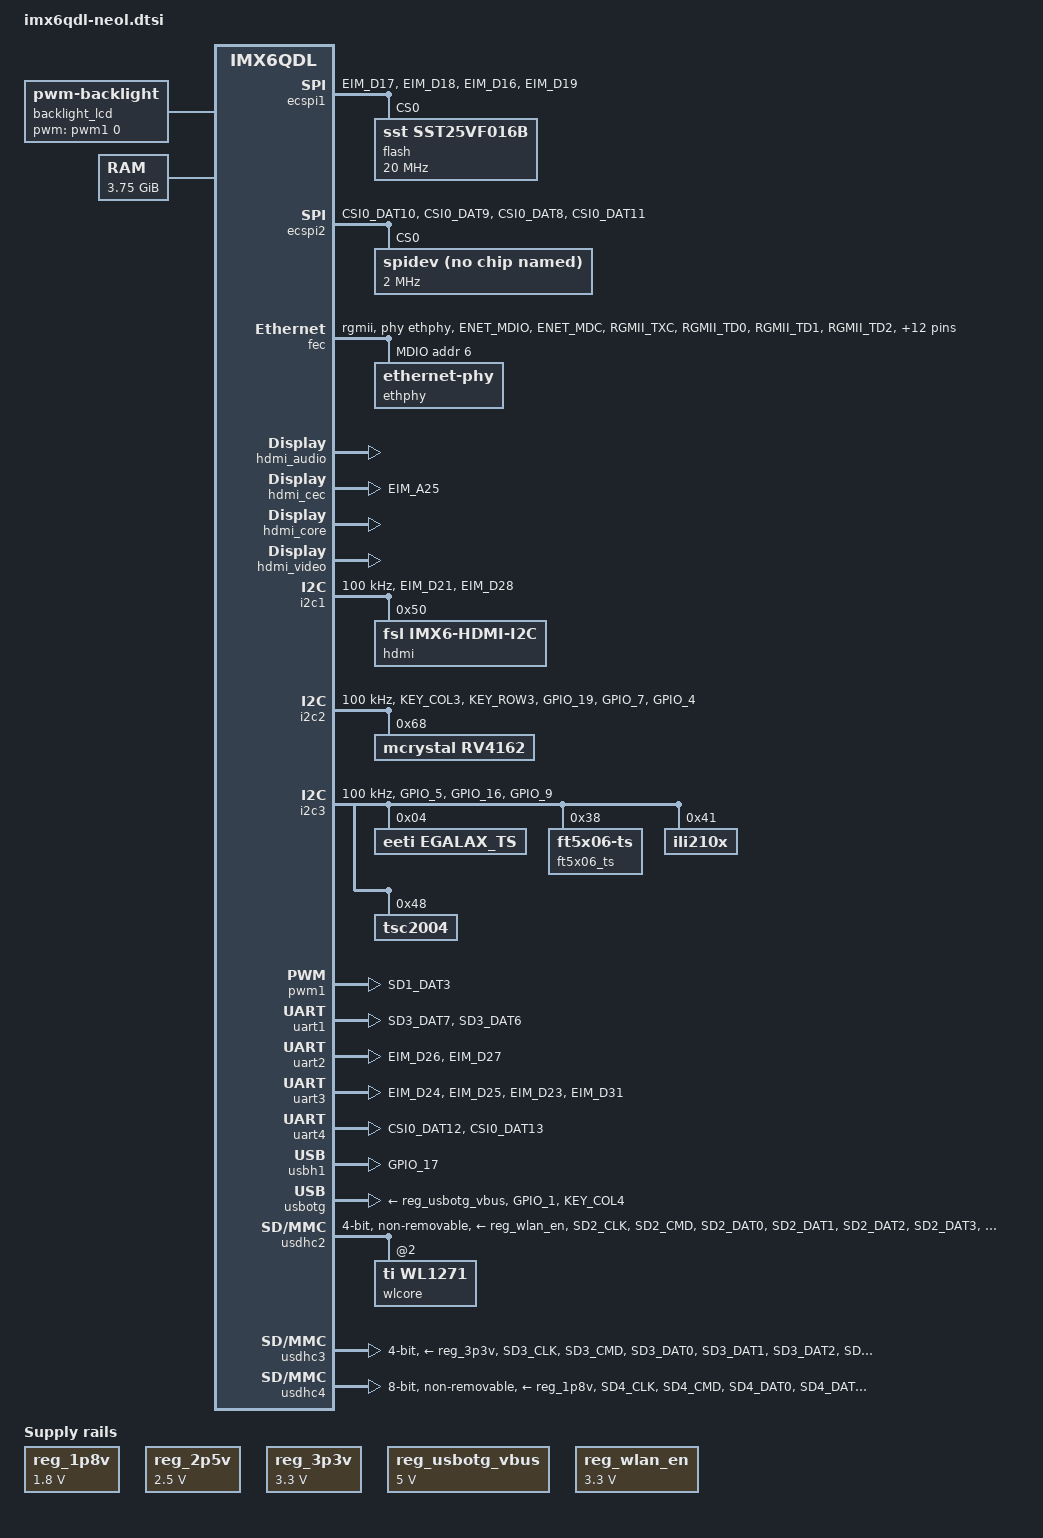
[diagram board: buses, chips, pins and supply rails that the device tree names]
/*
 * Copyright 2017 Boundary Devices, Inc.
 * Copyright 2012 Freescale Semiconductor, Inc.
 * Copyright 2011 Linaro Ltd.
 *
 * The code contained herein is licensed under the GNU General Public
 * License. You may obtain a copy of the GNU General Public License
 * Version 2 or later at the following locations:
 *
 * http://www.opensource.org/licenses/gpl-license.html
 * http://www.gnu.org/copyleft/gpl.html
 */
#include <dt-bindings/gpio/gpio.h>
#include <dt-bindings/input/input.h>

&iomuxc {
	pinctrl-names = "default";
	pinctrl-0 = <&pinctrl_hog>;

	iomuxc_imx6q_neol: iomuxc-imx6q-neolgrp {
		status = "okay";
	};
};

&iomuxc_imx6q_neol {
	pinctrl_bt_rfkill: bt-rfkillgrp {
		fsl,pins = <
#define GP_BT_RFKILL_RESET	<&gpio6 16 GPIO_ACTIVE_LOW>
			MX6QDL_PAD_NANDF_CS3__GPIO6_IO16	0x030b0
		>;
	};

	pinctrl_ecspi1: ecspi1grp {
		fsl,pins = <
			MX6QDL_PAD_EIM_D17__ECSPI1_MISO		0x100b1
			MX6QDL_PAD_EIM_D18__ECSPI1_MOSI		0x100b1
			MX6QDL_PAD_EIM_D16__ECSPI1_SCLK		0x000b1
#define GP_ECSPI1_NOR_CS	<&gpio3 19 GPIO_ACTIVE_LOW>
			MX6QDL_PAD_EIM_D19__GPIO3_IO19		0x0b0b1
		>;
	};

	pinctrl_ecspi2: ecspi2grp {
		fsl,pins = <
			MX6QDL_PAD_CSI0_DAT10__ECSPI2_MISO	0x100b1
			MX6QDL_PAD_CSI0_DAT9__ECSPI2_MOSI	0x100b1
			MX6QDL_PAD_CSI0_DAT8__ECSPI2_SCLK	0x100b1
#define GP_ECSPI2_SS0		<&gpio5 29 GPIO_ACTIVE_LOW>
			MX6QDL_PAD_CSI0_DAT11__GPIO5_IO29	0x0b0b1
		>;
	};

	pinctrl_enet: enetgrp {
		fsl,pins = <
			MX6QDL_PAD_ENET_MDIO__ENET_MDIO		0x1b0b0
			MX6QDL_PAD_ENET_MDC__ENET_MDC		0x1b0b0
			MX6QDL_PAD_RGMII_TXC__RGMII_TXC		0x100b0
			MX6QDL_PAD_RGMII_TD0__RGMII_TD0		0x100b0
			MX6QDL_PAD_RGMII_TD1__RGMII_TD1		0x100b0
			MX6QDL_PAD_RGMII_TD2__RGMII_TD2		0x100b0
			MX6QDL_PAD_RGMII_TD3__RGMII_TD3		0x100b0
			MX6QDL_PAD_RGMII_TX_CTL__RGMII_TX_CTL	0x100b0
			MX6QDL_PAD_ENET_REF_CLK__ENET_TX_CLK	0x100b0
			MX6QDL_PAD_RGMII_RXC__RGMII_RXC		0x1b0b0
			MX6QDL_PAD_RGMII_RD0__RGMII_RD0		0x1b0b0
			MX6QDL_PAD_RGMII_RD1__RGMII_RD1		0x1b0b0
			MX6QDL_PAD_RGMII_RD2__RGMII_RD2		0x1b0b0
			MX6QDL_PAD_RGMII_RD3__RGMII_RD3		0x1b0b0
			MX6QDL_PAD_RGMII_RX_CTL__RGMII_RX_CTL	0x1b0b0
#define GP_ENET_PHY_RESET	<&gpio1 27 GPIO_ACTIVE_LOW>
			MX6QDL_PAD_ENET_RXD0__GPIO1_IO27	0x030b0
#define GPIRQ_ENET_PHY		<&gpio1 28 IRQ_TYPE_LEVEL_LOW>
			MX6QDL_PAD_ENET_TX_EN__GPIO1_IO28	0x1b0b0
#define GPIRQ_ENET		<&gpio1 6 IRQ_TYPE_LEVEL_HIGH>
			MX6QDL_PAD_GPIO_6__ENET_IRQ		0x000b1
		>;
	};

	pinctrl_hdmi_cec: hdmi-cecgrp {
		fsl,pins = <
			MX6QDL_PAD_EIM_A25__HDMI_TX_CEC_LINE	0x1f8b0
		>;
	};

	pinctrl_hog: hoggrp {
		fsl,pins = <
#define GP_5V_DLP_EN	<&gpio3 7 GPIO_ACTIVE_HIGH>
			MX6QDL_PAD_EIM_DA7__GPIO3_IO07		0x130b0
#define GP_STDBY_MODE	<&gpio2 24 GPIO_ACTIVE_HIGH>
			MX6QDL_PAD_EIM_CS1__GPIO2_IO24		0x1b0b0
#define GP_DLPC_BOOTED	<&gpio2 22 GPIO_ACTIVE_HIGH>
			MX6QDL_PAD_EIM_A16__GPIO2_IO22		0x1b0b0
#define GP_INIT_DONE	<&gpio2 21 GPIO_ACTIVE_HIGH>
			MX6QDL_PAD_EIM_A17__GPIO2_IO21		0x1b0b0
#define GP_RESET	<&gpio1 2 GPIO_ACTIVE_HIGH>
			MX6QDL_PAD_GPIO_2__GPIO1_IO02		0x1b0b0
#define GP_KILL		<&gpio1 3 GPIO_ACTIVE_HIGH>
			MX6QDL_PAD_GPIO_3__GPIO1_IO03		0x1b0b0
#define GP_MICRO_RESET	<&gpio7 13 GPIO_ACTIVE_HIGH>
			MX6QDL_PAD_GPIO_18__GPIO7_IO13		0x1b0b0

#define GP_KEY_IO01	<&gpio4 7 GPIO_ACTIVE_HIGH>
			MX6QDL_PAD_KEY_ROW0__GPIO4_IO07		0x1b0b0
#define GP_KEY_IO02	<&gpio4 10 GPIO_ACTIVE_HIGH>
			MX6QDL_PAD_KEY_COL2__GPIO4_IO10		0x1b0b0
#define GP_KEY_IO03	<&gpio4 11 GPIO_ACTIVE_HIGH>
			MX6QDL_PAD_KEY_ROW2__GPIO4_IO11		0x1b0b0

#define GP_KEY_IO07	<&gpio1 8 GPIO_ACTIVE_HIGH>
			MX6QDL_PAD_GPIO_8__GPIO1_IO08		0x1b0b0
#define GP_KEY_IO08	<&gpio2 31 GPIO_ACTIVE_HIGH>
			MX6QDL_PAD_EIM_EB3__GPIO2_IO31		0x1b0b0
#define GP_KEY_IO09	<&gpio6 31 GPIO_ACTIVE_HIGH>
			MX6QDL_PAD_EIM_BCLK__GPIO6_IO31		0x1b0b0
#define GP_KEY_IO10	<&gpio2 30 GPIO_ACTIVE_HIGH>
			MX6QDL_PAD_EIM_EB2__GPIO2_IO30		0x1b0b0
#define GP_KEY_IO11	<&gpio5 0 GPIO_ACTIVE_HIGH>
			MX6QDL_PAD_EIM_WAIT__GPIO5_IO00		0x1b0b0

#define GP_TP71		<&gpio1 30 GPIO_ACTIVE_HIGH>
			MX6QDL_PAD_ENET_TXD0__GPIO1_IO30	0x1b0b0
#define GP_TP72		<&gpio1 0 GPIO_ACTIVE_HIGH>
			MX6QDL_PAD_GPIO_0__GPIO1_IO00		0x1b0b0
#define GP_TP74		<&gpio2 7 GPIO_ACTIVE_HIGH>
			MX6QDL_PAD_NANDF_D7__GPIO2_IO07		0x1b0b0
#define GP_TP76		<&gpio4 9 GPIO_ACTIVE_HIGH>
			MX6QDL_PAD_KEY_ROW1__GPIO4_IO09		0x1b0b0
#define GP_TP113	<&gpio2 27 GPIO_ACTIVE_HIGH>
			MX6QDL_PAD_EIM_LBA__GPIO2_IO27		0x1b0b0
#define GP_TP114	<&gpio3 6 GPIO_ACTIVE_HIGH>
			MX6QDL_PAD_EIM_DA6__GPIO3_IO06		0x1b0b0
#define GP_TP116	<&gpio2 20 GPIO_ACTIVE_HIGH>
			MX6QDL_PAD_EIM_A18__GPIO2_IO20		0x1b0b0
#define GP_TP118        <&gpio1 16 GPIO_ACTIVE_HIGH>
			MX6QDL_PAD_SD1_DAT0__GPIO1_IO16		0x1b0b0
#define GP_TP121	<&gpio3 30 GPIO_ACTIVE_HIGH>
			MX6QDL_PAD_EIM_D30__GPIO3_IO30		0x1b0b0
#define GP_TP122	<&gpio1 18 GPIO_ACTIVE_HIGH>
			MX6QDL_PAD_SD1_CMD__GPIO1_IO18		0x1b0b0
		>;
	};

	pinctrl_i2c1: i2c1grp {
		fsl,pins = <
			MX6QDL_PAD_EIM_D21__I2C1_SCL		0x4001b8b1
			MX6QDL_PAD_EIM_D28__I2C1_SDA		0x4001b8b1
		>;
	};

	pinctrl_i2c1_1: i2c1_1grp {
		fsl,pins = <
#define GP_I2C1_SCL	<&gpio3 21 GPIO_ACTIVE_HIGH>
			MX6QDL_PAD_EIM_D21__GPIO3_IO21		0x4001b8b1
#define GP_I2C1_SDA	<&gpio3 28 GPIO_ACTIVE_HIGH>
			MX6QDL_PAD_EIM_D28__GPIO3_IO28		0x4001b8b1
		>;
	};

	pinctrl_i2c2: i2c2grp {
		fsl,pins = <
			MX6QDL_PAD_KEY_COL3__I2C2_SCL		0x4001b8b1
			MX6QDL_PAD_KEY_ROW3__I2C2_SDA		0x4001b8b1
#define GP_I2C2_J14_PIN3	<&gpio4 5 GPIO_ACTIVE_HIGH>
			MX6QDL_PAD_GPIO_19__GPIO4_IO05		0x1b0b0
#define GP_I2C2_J14_PIN4	<&gpio1 7 GPIO_ACTIVE_HIGH>
			MX6QDL_PAD_GPIO_7__GPIO1_IO07		0x1b0b0
#define GP_I2C2_J14_PIN5	<&gpio1 4 GPIO_ACTIVE_HIGH>
			MX6QDL_PAD_GPIO_4__GPIO1_IO04		0x1b0b0
		>;
	};

	pinctrl_i2c2_1: i2c2_1grp {
		fsl,pins = <
#define GP_I2C2_SCL	<&gpio4 12 GPIO_ACTIVE_HIGH>
			MX6QDL_PAD_KEY_COL3__GPIO4_IO12		0x4001b8b1
#define GP_I2C2_SDA	<&gpio4 13 GPIO_ACTIVE_HIGH>
			MX6QDL_PAD_KEY_ROW3__GPIO4_IO13		0x4001b8b1
		>;
	};

	pinctrl_i2c2_rv4162: i2c2-rv4162grp {
		fsl,pins = <
#define GPIRQ_RTC_RV4162	<&gpio4 6 IRQ_TYPE_LEVEL_LOW>
			MX6QDL_PAD_KEY_COL0__GPIO4_IO06		0x1b0b0
		>;
	};

	pinctrl_i2c3: i2c3grp {
		fsl,pins = <
			MX6QDL_PAD_GPIO_5__I2C3_SCL		0x4001b8b1
			MX6QDL_PAD_GPIO_16__I2C3_SDA		0x4001b8b1
#define GPIRQ_I2C3_J7	<&gpio1 9 IRQ_TYPE_EDGE_FALLING>
#define GP_I2C3_J7	<&gpio1 9 GPIO_ACTIVE_LOW>
			MX6QDL_PAD_GPIO_9__GPIO1_IO09		0x1b0b0		/* I2C3 J7 interrupt */
		>;
	};

	pinctrl_i2c3_1: i2c3_1grp {
		fsl,pins = <
#define GP_I2C3_SCL	<&gpio1 5 GPIO_ACTIVE_HIGH>
			MX6QDL_PAD_GPIO_5__GPIO1_IO05		0x4001b8b1
#define GP_I2C3_SDA	<&gpio7 11 GPIO_ACTIVE_HIGH>
			MX6QDL_PAD_GPIO_16__GPIO7_IO11		0x4001b8b1
		>;
	};

	pinctrl_lcd: lcdgrp {
		fsl,pins = <
			MX6QDL_PAD_DI0_DISP_CLK__IPU1_DI0_DISP_CLK	0x10
			MX6QDL_PAD_DI0_PIN15__IPU1_DI0_PIN15		0x10
			MX6QDL_PAD_DI0_PIN2__IPU1_DI0_PIN02		0x10
			MX6QDL_PAD_DI0_PIN3__IPU1_DI0_PIN03		0x10
			MX6QDL_PAD_DISP0_DAT0__IPU1_DISP0_DATA00	0x10
			MX6QDL_PAD_DISP0_DAT1__IPU1_DISP0_DATA01	0x10
			MX6QDL_PAD_DISP0_DAT2__IPU1_DISP0_DATA02	0x10
			MX6QDL_PAD_DISP0_DAT3__IPU1_DISP0_DATA03	0x10
			MX6QDL_PAD_DISP0_DAT4__IPU1_DISP0_DATA04	0x10
			MX6QDL_PAD_DISP0_DAT5__IPU1_DISP0_DATA05	0x10
			MX6QDL_PAD_DISP0_DAT6__IPU1_DISP0_DATA06	0x10
			MX6QDL_PAD_DISP0_DAT7__IPU1_DISP0_DATA07	0x10
			MX6QDL_PAD_DISP0_DAT8__IPU1_DISP0_DATA08	0x10
			MX6QDL_PAD_DISP0_DAT9__IPU1_DISP0_DATA09	0x10
			MX6QDL_PAD_DISP0_DAT10__IPU1_DISP0_DATA10	0x10
			MX6QDL_PAD_DISP0_DAT11__IPU1_DISP0_DATA11	0x10
			MX6QDL_PAD_DISP0_DAT12__IPU1_DISP0_DATA12	0x10
			MX6QDL_PAD_DISP0_DAT13__IPU1_DISP0_DATA13	0x10
			MX6QDL_PAD_DISP0_DAT14__IPU1_DISP0_DATA14	0x10
			MX6QDL_PAD_DISP0_DAT15__IPU1_DISP0_DATA15	0x10
			MX6QDL_PAD_DISP0_DAT16__IPU1_DISP0_DATA16	0x10
			MX6QDL_PAD_DISP0_DAT17__IPU1_DISP0_DATA17	0x10
			MX6QDL_PAD_DISP0_DAT18__IPU1_DISP0_DATA18	0x10
			MX6QDL_PAD_DISP0_DAT19__IPU1_DISP0_DATA19	0x10
			MX6QDL_PAD_DISP0_DAT20__IPU1_DISP0_DATA20	0x10
			MX6QDL_PAD_DISP0_DAT21__IPU1_DISP0_DATA21	0x10
			MX6QDL_PAD_DISP0_DAT22__IPU1_DISP0_DATA22	0x10
			MX6QDL_PAD_DISP0_DAT23__IPU1_DISP0_DATA23	0x10
		>;
	};

	pinctrl_pwm1: pwm1grp {
		fsl,pins = <
			MX6QDL_PAD_SD1_DAT3__PWM1_OUT		0x030b1
		>;
	};

	pinctrl_reg_usbotg_vbus: reg-usbotg-vbusgrp {
		fsl,pins = <
#define GP_REG_USBOTG	<&gpio3 22 GPIO_ACTIVE_HIGH>
			MX6QDL_PAD_EIM_D22__GPIO3_IO22		0x030b0
		>;
	};

	pinctrl_reg_wlan_en: reg-wlan-engrp {
		fsl,pins = <
#define GP_REG_WLAN_EN	<&gpio6 15 GPIO_ACTIVE_HIGH>
			MX6QDL_PAD_NANDF_CS2__GPIO6_IO15	0x030b0
		>;
	};

	pinctrl_uart1: uart1grp {
		fsl,pins = <
			MX6QDL_PAD_SD3_DAT7__UART1_TX_DATA	0x1b0b1
			MX6QDL_PAD_SD3_DAT6__UART1_RX_DATA	0x1b0b1
		>;
	};

	pinctrl_uart2: uart2grp {
		fsl,pins = <
			MX6QDL_PAD_EIM_D26__UART2_TX_DATA	0x1b0b1
			MX6QDL_PAD_EIM_D27__UART2_RX_DATA	0x1b0b1
		>;
	};

	pinctrl_uart3: uart3grp {
		fsl,pins = <
			MX6QDL_PAD_EIM_D24__UART3_TX_DATA	0x1b0b1
			MX6QDL_PAD_EIM_D25__UART3_RX_DATA	0x1b0b1
			MX6QDL_PAD_EIM_D23__UART3_CTS_B		0x1b0b1
			MX6QDL_PAD_EIM_D31__UART3_RTS_B		0x1b0b1
		>;
	};

	pinctrl_uart4: uart4grp {
		fsl,pins = <
			MX6QDL_PAD_CSI0_DAT12__UART4_TX_DATA	0x1b0b1
			MX6QDL_PAD_CSI0_DAT13__UART4_RX_DATA	0x1b0b1
		>;
	};

	pinctrl_usbh1: usbh1grp {
		fsl,pins = <
#define GP_USBH1_HUB_RESET	<&gpio7 12 GPIO_ACTIVE_LOW>
			MX6QDL_PAD_GPIO_17__GPIO7_IO12		0x030b0
		>;
	};

	pinctrl_usbotg: usbotggrp {
		fsl,pins = <
			MX6QDL_PAD_GPIO_1__USB_OTG_ID		0x17059
			MX6QDL_PAD_KEY_COL4__USB_OTG_OC		0x1b0b0
		>;
	};

	pinctrl_usdhc2: usdhc2grp {
		fsl,pins = <
			MX6QDL_PAD_SD2_CLK__SD2_CLK		0x10071
			MX6QDL_PAD_SD2_CMD__SD2_CMD		0x17071
			MX6QDL_PAD_SD2_DAT0__SD2_DATA0		0x17071
			MX6QDL_PAD_SD2_DAT1__SD2_DATA1		0x17071
			MX6QDL_PAD_SD2_DAT2__SD2_DATA2		0x17071
			MX6QDL_PAD_SD2_DAT3__SD2_DATA3		0x17071
			MX6QDL_PAD_SD1_CLK__OSC32K_32K_OUT	0x000b0		/* slow clock */
		>;
	};

	pinctrl_usdhc2_100mhz: usdhc2grp-100mhz {
		fsl,pins = <
			MX6QDL_PAD_SD2_CMD__SD2_CMD		0x170B9
			MX6QDL_PAD_SD2_CLK__SD2_CLK		0x100B9
			MX6QDL_PAD_SD2_DAT0__SD2_DATA0		0x170B9
			MX6QDL_PAD_SD2_DAT1__SD2_DATA1 		0x170B9
			MX6QDL_PAD_SD2_DAT2__SD2_DATA2 		0x170B9
			MX6QDL_PAD_SD2_DAT3__SD2_DATA3 		0x170B9
		>;
	};

	pinctrl_usdhc2_200mhz: usdhc2grp-200mhz {
		fsl,pins = <
			MX6QDL_PAD_SD2_CMD__SD2_CMD		0x170F9
			MX6QDL_PAD_SD2_CLK__SD2_CLK 		0x100F9
			MX6QDL_PAD_SD2_DAT0__SD2_DATA0		0x170F9
			MX6QDL_PAD_SD2_DAT1__SD2_DATA1 		0x170F9
			MX6QDL_PAD_SD2_DAT2__SD2_DATA2 		0x170F9
			MX6QDL_PAD_SD2_DAT3__SD2_DATA3 		0x170F9
		>;
	};

	pinctrl_usdhc2_wlan:usdhc2-wlangrp {
		fsl,pins = <
#define GPIRQ_WL1271		<&gpio6 11 IRQ_TYPE_LEVEL_HIGH>
			MX6QDL_PAD_NANDF_CS0__GPIO6_IO11	0x100b0
#define GP_WIFI_WAKE		<&gpio2 1 GPIO_ACTIVE_HIGH>
			MX6QDL_PAD_NANDF_D1__GPIO2_IO01		0x1b0b0
#define GP_WIFI_QOW		<&gpio2 3 GPIO_ACTIVE_HIGH>
			MX6QDL_PAD_NANDF_D3__GPIO2_IO03		0x100b0
#define GP_WIFI_CLK_REQ		<&gpio6 8 GPIO_ACTIVE_HIGH>
			MX6QDL_PAD_NANDF_ALE__GPIO6_IO08	0x130b0
#define GP_BT_HOST_WAKE		<&gpio6 7 GPIO_ACTIVE_HIGH>
			MX6QDL_PAD_NANDF_CLE__GPIO6_IO07	0x130b0
		>;
	};

	pinctrl_usdhc3: usdhc3grp {
		fsl,pins = <
			MX6QDL_PAD_SD3_CLK__SD3_CLK		0x10059
			MX6QDL_PAD_SD3_CMD__SD3_CMD		0x17059
			MX6QDL_PAD_SD3_DAT0__SD3_DATA0		0x17059
			MX6QDL_PAD_SD3_DAT1__SD3_DATA1		0x17059
			MX6QDL_PAD_SD3_DAT2__SD3_DATA2		0x17059
			MX6QDL_PAD_SD3_DAT3__SD3_DATA3		0x17059
#define GP_USDHC3_CD	<&gpio7 0 GPIO_ACTIVE_LOW>
			MX6QDL_PAD_SD3_DAT5__GPIO7_IO00		0x1b0b0
		>;
	};

	pinctrl_usdhc4: usdhc4grp {
		fsl,pins = <
			MX6QDL_PAD_SD4_CLK__SD4_CLK		0x10059
			MX6QDL_PAD_SD4_CMD__SD4_CMD		0x17059
			MX6QDL_PAD_SD4_DAT0__SD4_DATA0		0x17059
			MX6QDL_PAD_SD4_DAT1__SD4_DATA1		0x17059
			MX6QDL_PAD_SD4_DAT2__SD4_DATA2		0x17059
			MX6QDL_PAD_SD4_DAT3__SD4_DATA3		0x17059
			MX6QDL_PAD_SD4_DAT4__SD4_DATA4		0x17059
			MX6QDL_PAD_SD4_DAT5__SD4_DATA5		0x17059
			MX6QDL_PAD_SD4_DAT6__SD4_DATA6		0x17059
			MX6QDL_PAD_SD4_DAT7__SD4_DATA7		0x17059
		>;
	};
};

/ {
	aliases {
		backlight_lcd = &backlight_lcd;
		fb_hdmi = &fb_hdmi;
		fb_lcd = &fb_lcd;
		lcd = &lcd;
		mmc0 = &usdhc3;
		mmc1 = &usdhc4;
		mmc2 = &usdhc2;
		mxcfb0 = &fb_lcd;
		mxcfb1 = &fb_hdmi;
		pwm_lcd = &pwm1;
	};

	backlight_lcd: backlight_lcd {
		brightness-levels = <0 1 2 3 4 5 6 7 8 9 10>;
		compatible = "pwm-backlight";
		default-brightness-level = <8>;
		display = <&fb_lcd>;
		pwms = <&pwm1 0 5000000>;
	};

	bt_rfkill {
		compatible = "net,rfkill-gpio";
		pinctrl-names = "default";
		pinctrl-0 = <&pinctrl_bt_rfkill>;
		name = "bt_rfkill";
		type = <2>;	/* bluetooth */
		reset-gpios = GP_BT_RFKILL_RESET;
	};

	fb_lcd: fb@0 {
		compatible = "fsl,mxc_sdc_fb";
		disp_dev = "lcd";
		interface_pix_fmt = "RGB666";
		default_bpp = <16>;
		int_clk = <0>;
		late_init = <0>;
		status = "disabled";
	};

	fb_hdmi: fb@1 {
		compatible = "fsl,mxc_sdc_fb";
		disp_dev = "hdmi";
		interface_pix_fmt = "RGB24";
		mode_str ="1280x720M@60";
		default_bpp = <32>;
		int_clk = <0>;
		late_init = <0>;
		status = "disabled";
	};

	lcd: lcd@0 {
		compatible = "fsl,lcd";
		ipu_id = <0>;
		disp_id = <0>;
		default_ifmt = "RGB666";
		pinctrl-names = "default";
		pinctrl-0 = <&pinctrl_lcd>;
		status = "okay";
	};

	memory {
		reg = <0x10000000 0xeffffc00>;
	};

	regulators {
		compatible = "simple-bus";
		#address-cells = <1>;
		#size-cells = <0>;

		reg_1p8v: regulator@0 {
			compatible = "regulator-fixed";
			reg = <0>;
			regulator-name = "1P8V";
			regulator-min-microvolt = <1800000>;
			regulator-max-microvolt = <1800000>;
			regulator-always-on;
		};

		reg_2p5v: regulator@1 {
			compatible = "regulator-fixed";
			reg = <1>;
			regulator-name = "2P5V";
			regulator-min-microvolt = <2500000>;
			regulator-max-microvolt = <2500000>;
			regulator-always-on;
		};

		reg_3p3v: regulator@2 {
			compatible = "regulator-fixed";
			reg = <2>;
			regulator-name = "3P3V";
			regulator-min-microvolt = <3300000>;
			regulator-max-microvolt = <3300000>;
			regulator-always-on;
		};

		reg_usbotg_vbus: regulator@3 {
			compatible = "regulator-fixed";
			reg = <3>;
			pinctrl-names = "default";
			pinctrl-0 = <&pinctrl_reg_usbotg_vbus>;
			regulator-name = "usb_otg_vbus";
			regulator-min-microvolt = <5000000>;
			regulator-max-microvolt = <5000000>;
			gpio = GP_REG_USBOTG;
			enable-active-high;
		};

		reg_wlan_en: regulator@4 {
			compatible = "regulator-fixed";
			reg = <4>;
			pinctrl-names = "default";
			pinctrl-0 = <&pinctrl_reg_wlan_en>;
			regulator-name = "wlan-en";
			regulator-min-microvolt = <3300000>;
			regulator-max-microvolt = <3300000>;
			gpio = GP_REG_WLAN_EN;
			startup-delay-us = <70000>;
			enable-active-high;
		};
	};

	sound-hdmi {
		compatible = "fsl,imx6q-audio-hdmi",
			     "fsl,imx-audio-hdmi";
		model = "imx-audio-hdmi";
		hdmi-controller = <&hdmi_audio>;
	};

	v4l2_out {
		compatible = "fsl,mxc_v4l2_output";
		status = "okay";
	};
};

&ecspi1 {
	pinctrl-names = "default";
	pinctrl-0 = <&pinctrl_ecspi1>;
	fsl,spi-num-chipselects = <1>;
	cs-gpios = GP_ECSPI1_NOR_CS;
	status = "okay";

	flash: m25p80@0 {
		compatible = "sst,sst25vf016b";
		spi-max-frequency = <20000000>;
		reg = <0>;
		#address-cells = <1>;
		#size-cells = <1>;
		mtd@00000000 {
			label = "U-Boot";
			reg = <0x0 0xC0000>;
		};

		mtd@000C0000 {
			label = "env";
			reg = <0xC0000 0x2000>;
		};
		mtd@000C2000 {
			label = "splash";
			reg = <0xC2000 0x13e000>;
		};
	};
};

&ecspi2 {
	pinctrl-names = "default";
	pinctrl-0 = <&pinctrl_ecspi2>;
	fsl,spi-num-chipselects = <1>;
	cs-gpios = GP_ECSPI2_SS0;
	status = "okay";

	spidev@0 {
		compatible = "spidev";
		reg = <0>;
		spi-max-frequency = <2000000>;
	};
};

&fec {
	interrupts-extended = GPIRQ_ENET,
			      <&gpc 0 119 IRQ_TYPE_LEVEL_HIGH>;
	phy-handle = <&ethphy>;
	phy-mode = "rgmii";
#if 0
	phy-reset-gpios = GP_ENET_PHY_RESET;
#endif
	pinctrl-names = "default";
	pinctrl-0 = <&pinctrl_enet>;
	status = "okay";

	mdio {
		#address-cells = <0>;
		#size-cells = <1>;

		ethphy: ethernet-phy@6 {
			reg = <6>;
			interrupts-extended = GPIRQ_ENET_PHY;
		};
	};
};

&hdmi_audio {
	status = "okay";
};

&hdmi_cec {
	pinctrl-names = "default";
	pinctrl-0 = <&pinctrl_hdmi_cec>;
	status = "okay";
};

&hdmi_core {
	ipu_id = <0>;
	disp_id = <0>;
	status = "okay";
};

&hdmi_video {
	fsl,phy_reg_vlev = <0x0294>;
	fsl,phy_reg_cksymtx = <0x800d>;
	status = "okay";
};

&i2c1 {
	clock-frequency = <100000>;
	pinctrl-names = "default", "gpio";
	pinctrl-0 = <&pinctrl_i2c1>;
	pinctrl-1 = <&pinctrl_i2c1_1>;
	scl-gpios = GP_I2C1_SCL;
	sda-gpios = GP_I2C1_SDA;
	status = "okay";

	hdmi: edid@50 {
		compatible = "fsl,imx6-hdmi-i2c";
		reg = <0x50>;
	};
};

&i2c2 {
	clock-frequency = <100000>;
	pinctrl-names = "default", "gpio";
	pinctrl-0 = <&pinctrl_i2c2>;
	pinctrl-1 = <&pinctrl_i2c2_1>;
	scl-gpios = GP_I2C2_SCL;
	sda-gpios = GP_I2C2_SDA;
	status = "okay";

	rv4162@68 {
		compatible = "mcrystal,rv4162";
		pinctrl-names = "default";
		pinctrl-0 = <&pinctrl_i2c2_rv4162>;
		reg = <0x68>;
		interrupts-extended = GPIRQ_RTC_RV4162;
	};
};



&i2c3 {
	clock-frequency = <100000>;
	pinctrl-names = "default", "gpio";
	pinctrl-0 = <&pinctrl_i2c3>;
	pinctrl-1 = <&pinctrl_i2c3_1>;
	scl-gpios = GP_I2C3_SCL;
	sda-gpios = GP_I2C3_SDA;
	status = "okay";

	egalax_ts@04 {
		compatible = "eeti,egalax_ts";
		reg = <0x04>;
		interrupts-extended = GPIRQ_I2C3_J7;
		wakeup-gpios = GP_I2C3_J7;
	};

	ft5x06_ts@38 {
		compatible = "ft5x06-ts";
		reg = <0x38>;
		interrupts-extended = GPIRQ_I2C3_J7;
		wakeup-gpios = GP_I2C3_J7;
	};

	ili210x@41 {
		compatible = "ili210x";
		reg = <0x41>;
		interrupts-extended = GPIRQ_I2C3_J7;
		wakeup-gpios = GP_I2C3_J7;
	};

	tsc2004: tsc2004@48 {
		compatible = "tsc2004";
		reg = <0x48>;
		interrupts-extended = GPIRQ_I2C3_J7;
		wakeup-gpios = GP_I2C3_J7;
	};
};

&pwm1 {
	pinctrl-names = "default";
	pinctrl-0 = <&pinctrl_pwm1>;
	status = "okay";
};

&uart1 {
	pinctrl-names = "default";
	pinctrl-0 = <&pinctrl_uart1>;
	status = "okay";
};

&uart2 {
	pinctrl-names = "default";
	pinctrl-0 = <&pinctrl_uart2>;
	status = "okay";
};

&uart3 {
	pinctrl-names = "default";
	pinctrl-0 = <&pinctrl_uart3>;
	fsl,uart-has-rtscts;
	status = "okay";
};

&uart4 {
	pinctrl-names = "default";
	pinctrl-0 = <&pinctrl_uart4>;
	status = "okay";
};

&usbh1 {
	pinctrl-names = "default";
	pinctrl-0 = <&pinctrl_usbh1>;
	disable-over-current;
	reset-gpios = GP_USBH1_HUB_RESET;
	status = "okay";
};

&usbotg {
	vbus-supply = <&reg_usbotg_vbus>;
	pinctrl-names = "default";
	pinctrl-0 = <&pinctrl_usbotg>;
	status = "okay";
};

&usdhc2 {	/* uSDHC2, Silex or Tiwi */
	pinctrl-names = "default", "state_100mhz", "state_200mhz";
	pinctrl-0 = <&pinctrl_usdhc2>;
	pinctrl-1 = <&pinctrl_usdhc2_100mhz>;
	pinctrl-2 = <&pinctrl_usdhc2_200mhz>;
	bus-width = <4>;
	non-removable;
	vmmc-supply = <&reg_wlan_en>;
	vqmmc-1-8-v;
	cap-power-off-card;
	keep-power-in-suspend;
	status = "okay";

	#address-cells = <1>;
	#size-cells = <0>;
	wlcore: wlcore@2 {
		compatible = "ti,wl1271";
		interrupts-extended = GPIRQ_WL1271;
		reg = <2>;
		ref-clock-frequency = <38400000>;
	};
};

&usdhc3 {
	pinctrl-names = "default";
	pinctrl-0 = <&pinctrl_usdhc3>;
	bus-width = <4>;
	cd-gpios = GP_USDHC3_CD;
	vmmc-supply = <&reg_3p3v>;
	status = "okay";
};

&usdhc4 {
	pinctrl-names = "default";
	pinctrl-0 = <&pinctrl_usdhc4>;
	bus-width = <8>;
	non-removable;
	vqmmc-1-8-v;
	vmmc-supply = <&reg_1p8v>;
	keep-power-in-suspend;
	status = "okay";
};
